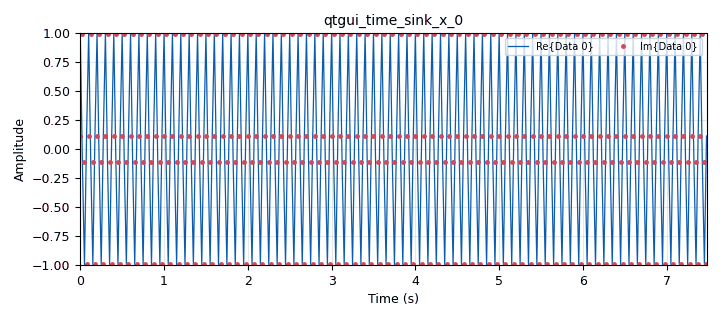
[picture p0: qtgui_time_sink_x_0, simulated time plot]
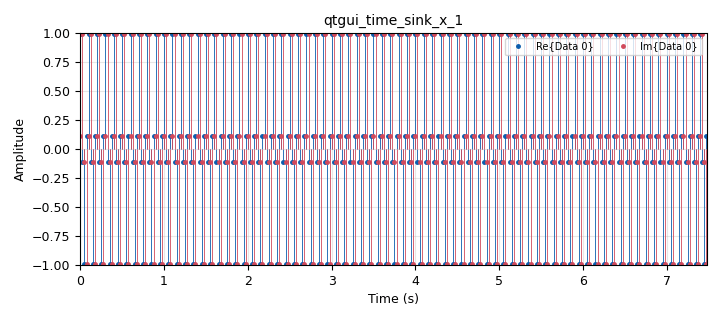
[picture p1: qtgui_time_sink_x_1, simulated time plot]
options:
  parameters:
    generate_options: qt_gui
    id: untitled
    output_language: python
    title: Not titled yet
  states: {}

blocks:
- name: samp_rate
  id: variable
  parameters:
    value: '200'
  states: {}
- name: analog_sig_source_x_0
  id: analog_sig_source_x
  parameters:
    amp: '1'
    freq: '130'
    offset: '0'
    phase: '0'
    samp_rate: '40'
    type: complex
    waveform: analog.GR_COS_WAVE
  states: {}
- name: analog_sig_source_x_1
  id: analog_sig_source_x
  parameters:
    amp: '1'
    freq: '10'
    offset: '0'
    phase: '0'
    samp_rate: '40'
    type: complex
    waveform: analog.GR_COS_WAVE
  states: {state: disabled}
- name: blocks_throttle2_0
  id: blocks_throttle2
  parameters:
    samples_per_second: '4000'
    type: complex
  states: {}
- name: blocks_throttle2_0_0
  id: blocks_throttle2
  parameters:
    samples_per_second: '4000'
    type: complex
  states: {state: disabled}
- name: qtgui_freq_sink_x_1
  id: qtgui_freq_sink_x
  parameters:
    bw: samp_rate
    fc: '0'
    fftsize: '1024'
    type: complex
  states: {state: disabled}
- name: qtgui_time_sink_x_0
  id: qtgui_time_sink_x
  parameters:
    color1: green
    ctrlpanel: 'True'
    size: '300'
    srate: '40'
    style2: '0'
    type: complex
  states: {}
- name: qtgui_time_sink_x_1
  id: qtgui_time_sink_x
  parameters:
    ctrlpanel: 'True'
    size: '300'
    srate: '40'
    stemplot: 'True'
    style2: '0'
    type: complex
  states: {}

connections:
- [analog_sig_source_x_0, '0', blocks_throttle2_0, '0']
- [analog_sig_source_x_1, '0', blocks_throttle2_0_0, '0']
- [blocks_throttle2_0, '0', qtgui_time_sink_x_0, '0']
- [blocks_throttle2_0, '0', qtgui_time_sink_x_1, '0']
- [blocks_throttle2_0_0, '0', qtgui_freq_sink_x_1, '0']

metadata:
  file_format: 1
  grc_version: 3.10.12.0
